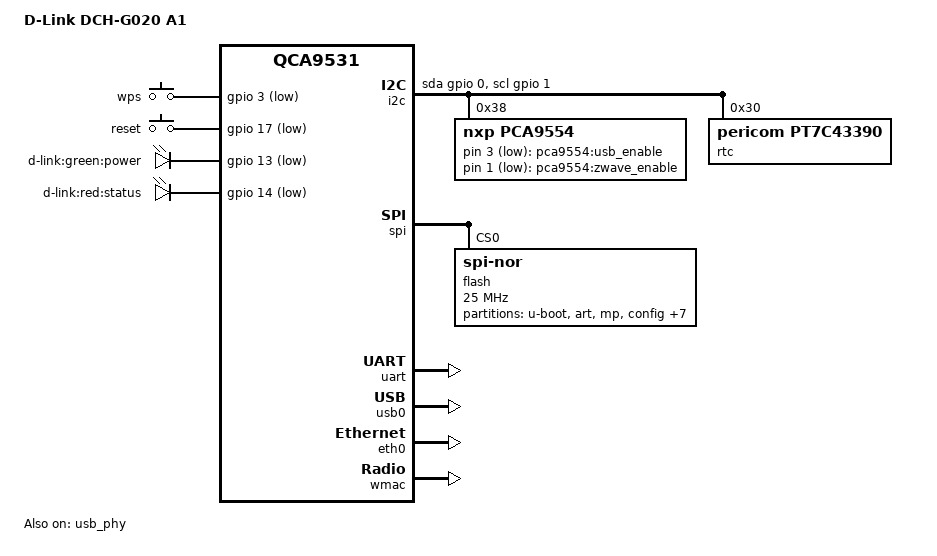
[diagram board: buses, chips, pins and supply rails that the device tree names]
// SPDX-License-Identifier: GPL-2.0-or-later OR MIT
/dts-v1/;

#include <dt-bindings/gpio/gpio.h>
#include <dt-bindings/input/input.h>

#include "qca953x.dtsi"

/ {
	compatible = "dlink,dch-g020-a1", "qca,qca9531";
	model = "D-Link DCH-G020 A1";

	aliases {
		label-mac-device = &eth0;
		led-boot = &power;
		led-failsafe = &power;
		led-running = &power;
		led-upgrade = &power;
	};

	chosen {
		bootargs = "console=ttyS0,115200n8";
	};

	i2c {
		compatible = "i2c-gpio";
		#address-cells = <1>;
		#size-cells = <1>;

		sda-gpios = <&gpio 0 GPIO_ACTIVE_HIGH>;
		scl-gpios = <&gpio 1 GPIO_ACTIVE_HIGH>;

		/* can be removed on 4.19 */
		gpios = <&gpio 0 GPIO_ACTIVE_HIGH>,
				<&gpio 1 GPIO_ACTIVE_HIGH>;

		pca9554: pca9554@38 {
			compatible = "nxp,pca9554";
			reg = <0x38 0x1>;
			#clock-cells = <0>;
			gpio-controller;
			#gpio-cells = <2>;
		};

		/* not yet supported by OpenWRT, included for completeness */
		rtc: pt7c43390@30 {
			compatible = "pericom,pt7c43390";
			reg = <0x30 0x8>;
		};
	};

	gpio-export {
		compatible = "gpio-export";

		usb_enable: usb_enable {
			label = "pca9554:usb_enable";
			gpio-export,name = "pca9554:usb_enable";
			gpio-export,output = <0>;
			gpios = <&pca9554 3 GPIO_ACTIVE_LOW>;
		};

		zwave_enable: zwave_enable {
			label = "pca9554:zwave_enable";
			gpio-export,name = "pca9554:zwave_enable";
			gpio-export,output = <0>;
			gpios = <&pca9554 1 GPIO_ACTIVE_LOW>;
		};
	};

	keys {
		compatible = "gpio-keys";

		wps {
			label = "wps";
			linux,code = <KEY_WPS_BUTTON>;
			gpios = <&gpio 3 GPIO_ACTIVE_LOW>;
		};

		reset {
			label = "reset";
			linux,code = <KEY_RESTART>;
			gpios = <&gpio 17 GPIO_ACTIVE_LOW>;
		};
	};

	leds {
		compatible = "gpio-leds";

		power: power {
			label = "d-link:green:power";
			gpios = <&gpio 13 GPIO_ACTIVE_LOW>;
		};

		status {
			label = "d-link:red:status";
			gpios = <&gpio 14 GPIO_ACTIVE_LOW>;
		};
	};
};

&spi {
	status = "okay";
	num-cs = <1>;

	flash@9f000000 {
		compatible = "jedec,spi-nor";
		reg = <0x0>;
		spi-max-frequency = <25000000>;

		partitions {
			compatible = "fixed-partitions";
			#address-cells = <1>;
			#size-cells = <1>;

			partition@0 {
				label = "u-boot";
				reg = <0x0 0x10000>;
				read-only;
			};

			art: partition@10000 {
				label = "art";
				reg = <0x10000 0x10000>;
				read-only;
			};

			mp: partition@20000 {
				label = "mp";
				reg = <0x20000 0x10000>;
				read-only;
			};

			partition@30000 {
				label = "config";
				reg = <0x30000 0x10000>;
				read-only;
			};

			partition@40000 {
				label = "bootarg";
				reg = <0x40000 0x10000>;
				read-only;
			};

			partition@50000 {
				label = "firmware";
				reg = <0x50000 0xe70000>;
				compatible = "denx,uimage";
			};

			partition@ec0000 {
				label = "log";
				reg = <0xec0000 0x10000>;
				read-only;
			};

			partition@ed0000 {
				label = "mydlink";
				reg = <0xed0000 0x80000>;
				read-only;
			};

			partition@f50000 {
				label = "data1";
				reg = <0xf50000 0x80000>;
				read-only;
			};

			partition@fd0000 {
				label = "data2";
				reg = <0xfd0000 0x20000>;
				read-only;
			};

			partition@ff0000 {
				label = "data3";
				reg = <0xff0000 0x10000>;
				read-only;
			};
		};
	};
};

&uart {
	status = "okay";
};

&usb0 {
	#address-cells = <1>;
	#size-cells = <0>;
	status = "okay";

	hub_port: port@1 {
		reg = <1>;
		#trigger-source-cells = <0>;
	};
};

&usb_phy {
	status = "okay";
};

&eth0 {
	status = "okay";
	mtd-mac-address-text = <&mp 0x1>; /* todo: currently ineffective; wait for dts binding */
};

&wmac {
	status = "okay";
	mtd-cal-data = <&art 0x1000>;
	mtd-mac-address-text = <&mp 0x13>; /* todo: currently ineffective; wait for dts binding */
};
